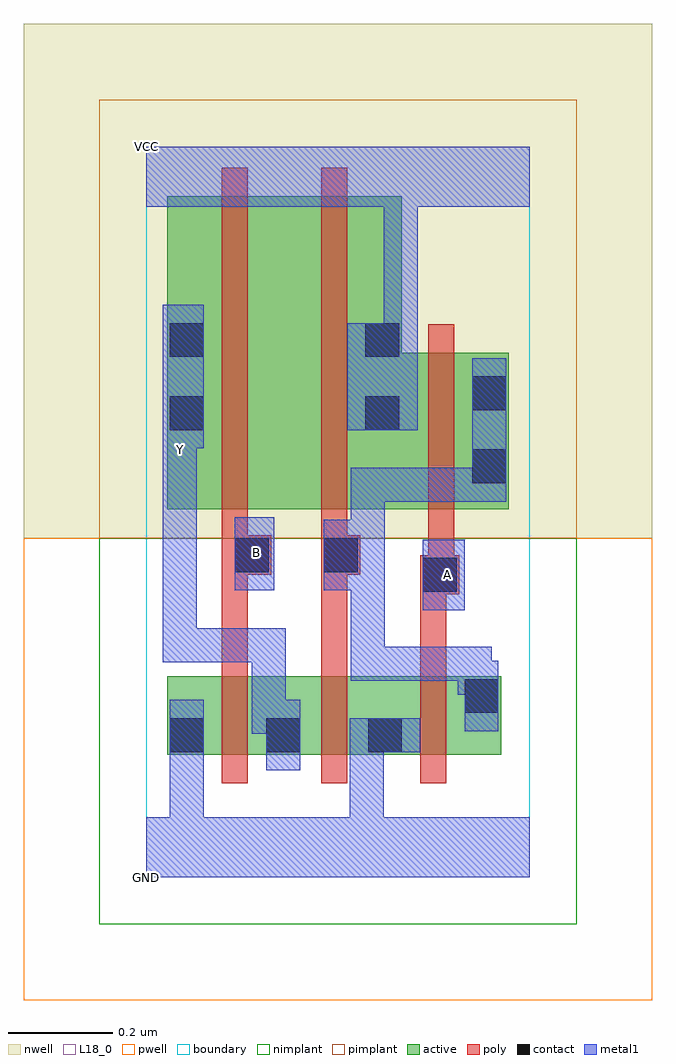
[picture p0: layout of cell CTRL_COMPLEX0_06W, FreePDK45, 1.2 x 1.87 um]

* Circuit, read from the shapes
.subckt CTRL_COMPLEX0_06W A B GND VCC Y
M1 Y B GND VSUBS nfet w=0.15u l=0.05u
M2 GND n1 Y VSUBS nfet w=0.15u l=0.05u
M3 n1 A GND VSUBS nfet w=0.15u l=0.05u
M4 n2 B Y n3 pfet w=0.6u l=0.05u
M5 VCC n1 n2 n3 pfet w=0.6u l=0.05u
M6 n1 A VCC n3 pfet w=0.3u l=0.05u
.ends

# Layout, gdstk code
import gdstk
lib = gdstk.Library(unit=1e-6, precision=1e-09)
def R(c, l, rs):  # rectangles x0, y0, x1, y1
    for r in rs: c.add(gdstk.rectangle(r[:2], r[2:], *l))
def A(c, l, x, y, w, h, nx, ny, dx, dy):  # array of equal rectangles
    R(c, l, [(x+i*dx, y+j*dy, x+i*dx+w, y+j*dy+h) for i in range(nx) for j in range(ny)])
active = (1, 0)
pwell = (2, 0)
nwell = (3, 0)
nimplant = (4, 0)
pimplant = (5, 0)
poly = (9, 0)
contact = (10, 0)
metal1 = (11, 0)
L18_0 = (18, 0)
boundary = (235, 0)

ctrl_complex0_06w = lib.new_cell('CTRL_COMPLEX0_06W')
R(ctrl_complex0_06w, active, [(0.04,0.235,0.115,0.385), (0.04,0.235,0.3,0.385), (0.225,0.235,0.3,0.31), (0.225,0.235,0.495,0.385), (0.42,0.235,0.68,0.385), (0.42,0.235,0.495,0.31), (0.605,0.235,0.68,0.385), (0.04,0.705,0.265,1.305), (0.04,0.705,0.145,1.2), (0.265,0.705,0.49,1.305), (0.415,0.705,0.695,1.005), (0.415,0.705,0.49,1.145), (0.62,0.705,0.695,1.005)])
R(ctrl_complex0_06w, pwell, [(-0.235,-0.235,0.97,0.65)])
R(ctrl_complex0_06w, nwell, [(-0.235,0.65,0.97,1.635)])
R(ctrl_complex0_06w, nimplant, [(-0.09,-0.09,0.825,0.65)])
R(ctrl_complex0_06w, pimplant, [(-0.09,0.65,0.825,1.49)])
A(ctrl_complex0_06w, poly, 0.145, 0.18, 0.05, 0.26, 3, 1, 0.19, 0)
R(ctrl_complex0_06w, poly, [(0.145,0.39,0.195,0.63), (0.335,0.39,0.385,0.63), (0.525,0.39,0.575,0.592), (0.525,0.542,0.6,0.617), (0.54,0.567,0.59,0.7), (0.145,0.58,0.24,0.655), (0.335,0.58,0.41,0.655), (0.145,0.605,0.195,0.7), (0.335,0.605,0.385,0.7), (0.145,0.65,0.195,1.36), (0.335,0.65,0.385,1.36), (0.54,0.65,0.59,1.06)])
R(ctrl_complex0_06w, contact, [(0.045,0.24,0.11,0.305), (0.23,0.24,0.295,0.305), (0.425,0.24,0.49,0.305), (0.61,0.315,0.675,0.38), (0.53,0.547,0.595,0.612), (0.17,0.585,0.235,0.65), (0.34,0.585,0.405,0.65), (0.625,0.755,0.69,0.82), (0.045,0.857,0.11,0.922), (0.42,0.857,0.485,0.922), (0.625,0.895,0.69,0.96), (0.045,0.997,0.11,1.062), (0.42,0.997,0.485,1.062)])
R(ctrl_complex0_06w, metal1, [(0,0,0.735,0.115), (0.045,0.05,0.11,0.202), (0.39,0.05,0.455,0.115), (0.39,0.05,0.455,0.115), (0.39,0.05,0.455,0.115), (0.39,0.05,0.455,0.115), (0.39,0.05,0.455,0.305), (0.045,0.137,0.11,0.202), (0.045,0.137,0.11,0.202), (0.045,0.137,0.11,0.202), (0.045,0.137,0.11,0.202), (0.045,0.137,0.11,0.202), (0.045,0.137,0.11,0.27), (0.045,0.205,0.11,0.34), (0.23,0.205,0.295,0.34), (0.39,0.24,0.455,0.305), (0.39,0.24,0.455,0.305), (0.39,0.24,0.525,0.305), (0.202,0.275,0.295,0.34), (0.202,0.275,0.267,0.477), (0.61,0.28,0.675,0.415), (0.597,0.35,0.675,0.415), (0.597,0.35,0.662,0.442), (0.392,0.377,0.457,0.442), (0.392,0.377,0.662,0.442), (0.392,0.377,0.457,0.68), (0.032,0.412,0.097,0.477), (0.032,0.412,0.267,0.477), (0.032,0.412,0.097,0.817), (0.53,0.512,0.61,0.647), (0.17,0.55,0.245,0.69), (0.34,0.55,0.405,0.685), (0.34,0.615,0.457,0.68), (0.392,0.615,0.457,0.68), (0.392,0.615,0.457,0.785), (0.392,0.72,0.635,0.785), (0.392,0.72,0.457,0.785), (0.57,0.72,0.69,0.785), (0.57,0.72,0.635,0.785), (0.625,0.72,0.69,0.995), (0.032,0.752,0.097,0.887), (0.032,0.822,0.097,0.887), (0.032,0.822,0.11,1.097), (0.385,0.857,0.52,1.062), (0.455,0.997,0.52,1.35), (0,1.285,0.735,1.4)])
R(ctrl_complex0_06w, L18_0, [(0,0,0.735,0.115), (0.045,0.05,0.11,0.202), (0.39,0.05,0.455,0.115), (0.39,0.05,0.455,0.115), (0.39,0.05,0.455,0.115), (0.39,0.05,0.455,0.115), (0.39,0.05,0.455,0.305), (0.045,0.137,0.11,0.202), (0.045,0.137,0.11,0.202), (0.045,0.137,0.11,0.202), (0.045,0.137,0.11,0.202), (0.045,0.137,0.11,0.202), (0.045,0.137,0.11,0.27), (0.045,0.205,0.11,0.34), (0.23,0.205,0.295,0.34), (0.39,0.24,0.455,0.305), (0.39,0.24,0.455,0.305), (0.39,0.24,0.525,0.305), (0.202,0.275,0.267,0.477), (0.202,0.275,0.295,0.34), (0.032,0.412,0.097,0.477), (0.032,0.412,0.097,0.817), (0.032,0.412,0.267,0.477), (0.53,0.512,0.61,0.647), (0.545,0.547,0.61,0.612), (0.17,0.55,0.245,0.69), (0.18,0.59,0.245,0.655), (0.032,0.752,0.097,0.887), (0.032,0.787,0.097,0.852), (0.032,0.822,0.097,0.887), (0.032,0.822,0.11,1.097), (0.385,0.857,0.52,1.062), (0.455,0.997,0.52,1.35), (0,1.285,0.735,1.4)])
R(ctrl_complex0_06w, boundary, [(0,0,0.735,1.4)])
ctrl_complex0_06w.add(gdstk.Label('A', (0.577,0.58), layer=11, texttype=0))
ctrl_complex0_06w.add(gdstk.Label('B', (0.212,0.622), layer=11, texttype=0))
ctrl_complex0_06w.add(gdstk.Label('Y', (0.065,0.82), layer=11, texttype=0))
ctrl_complex0_06w.add(gdstk.Label('VCC', (0,1.4), layer=11, texttype=0))
ctrl_complex0_06w.add(gdstk.Label('GND', (0,0), layer=11, texttype=0))

lib.write_gds('CTRL_COMPLEX0_06W.gds')
